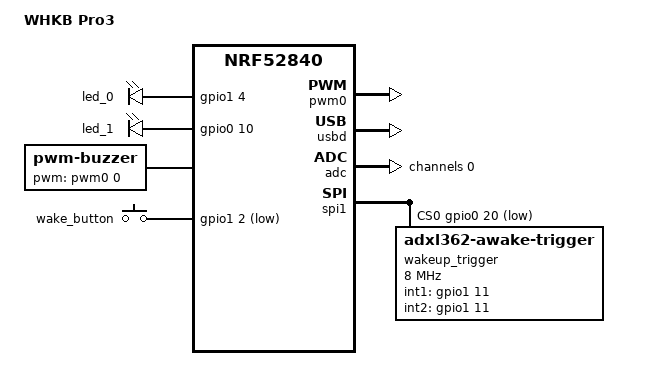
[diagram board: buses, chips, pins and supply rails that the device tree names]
/*
 * Copyright (c) 2025 Stefan Sundin (4pplet)
 * SPDX-License-Identifier: MIT
 *
 * WHKB Pro3 - nRF52840 controller for HHKB Professional Classic
 * Uses ADC-based capacitive sensing instead of comparator
 *
 * Pin mapping (adjust to match actual PCB):
 * - ROW0-3: Row drive outputs
 * - COL_A/B/C: 3-bit column select for HC4051 muxes
 * - U1_EN/U2_EN: Mux enable (active low)
 * - OPAMP_EN: OpAmp enable
 * - DISCHARGE: Capacitor discharge
 * - SENSE: ADC input from OpAmp (P0.02 = AIN0)
 * - LDO_EN: Switch board power
 */

/dts-v1/;

#include <nordic/nrf52840_qiaa.dtsi>
#include <common/nordic/nrf52840_uf2_boot_mode.dtsi>
#include "whkb_pro3-pinctrl.dtsi"

/ {
    model = "WHKB Pro3";
    compatible = "applet,whkb-pro3";

    chosen {
        zephyr,code-partition = &code_partition;
        zephyr,sram = &sram0;
        zephyr,flash = &flash0;
        zephyr,console = &cdc_acm_uart;
    };

    leds {
        compatible = "gpio-leds";
        led_0: led_1 {
            gpios = <&gpio1 4 GPIO_ACTIVE_HIGH>;
            status = "okay";
        };
        led_1: led_2 {
            gpios = <&gpio0 10 GPIO_ACTIVE_HIGH>;
            status = "okay";
        };
    };

    buzzer: buzzer {
        compatible = "pwm-buzzer";
        pwms = <&pwm0 0 PWM_HZ(440) PWM_POLARITY_NORMAL>;
    };

    /*
     * Wake button - dedicated button for waking from deep sleep
     * Similar to HHKB Hybrid's power button functionality
     * TODO: Update pin assignment when PCB design is finalized
     */
    gpio_keys {
        compatible = "gpio-keys";
        wake_button: wake_button {
            gpios = <&gpio1 2 (GPIO_ACTIVE_LOW | GPIO_PULL_UP)>;  /* Placeholder pin */
        };
    };

    /*
     * Wake trigger - enables the wake button to wake from soft-off/deep sleep
     * This is separate from the accelerometer wake functionality
     */
    wakeup_button_trigger: wakeup_button_trigger {
        compatible = "zmk,gpio-key-wakeup-trigger";
        trigger = <&wake_button>;
        wakeup-source;
    };

    aliases {
        led1 = &led_0;
        led2 = &led_1;
        buzzer = &buzzer;
        wake-button = &wake_button;
    };
};

&pwm0 {
    status = "okay";
    pinctrl-0 = <&pwm0_default>;
    pinctrl-1 = <&pwm0_sleep>;
    pinctrl-names = "default", "sleep";
};

&reg1 {
    regulator-initial-mode = <NRF5X_REG_MODE_DCDC>;
};

&gpiote {
    status = "okay";
};

&gpio0 {
    status = "okay";
};

&gpio1 {
    status = "okay";
};

zephyr_udc0: &usbd {
    status = "okay";
    cdc_acm_uart: cdc_acm_uart {
        compatible = "zephyr,cdc-acm-uart";
    };
};

/* ADC for capacitive sensing */
&adc {
    #address-cells = <1>;
    #size-cells = <0>;
    status = "okay";

    channel@0 {
        reg = <0>;
        zephyr,gain = "ADC_GAIN_1_6";
        zephyr,reference = "ADC_REF_INTERNAL";
        zephyr,acquisition-time = <ADC_ACQ_TIME_DEFAULT>;
        zephyr,input-positive = <NRF_SAADC_AIN0>;  /* P0.02 */
        zephyr,resolution = <12>;
    };
};

/*
 * ADXL362 accelerometer for wakeup from sleep
 * Uses ec-support-zmk-module from petejohanson
 * Provides alternative wake method alongside dedicated wake button
 * TODO: Update CS and INT pin assignments when PCB design is finalized
 */
&spi1 {
    status = "okay";
    compatible = "nordic,nrf-spim";
    pinctrl-0 = <&spi1_default>;
    pinctrl-1 = <&spi1_sleep>;
    pinctrl-names = "default", "sleep";
    cs-gpios = <&gpio0 20 GPIO_ACTIVE_LOW>;  /* Placeholder CS pin */

    wakeup_trigger: wakeup_trigger@0 {
        compatible = "zmk,adxl362-awake-trigger";
        status = "okay";
        reg = <0>;
        spi-max-frequency = <8000000>;
        int1-gpios = <&gpio1 11 GPIO_ACTIVE_HIGH>;  /* Placeholder INT1 pin */
        int2-gpios = <&gpio1 11 GPIO_ACTIVE_HIGH>;  /* Same pin - workaround for module macro */
        wakeup-source;

        /*
         * Accelerometer sensitivity settings - adjust these to tune wake behavior.
         * Threshold values are in milli-g (1000 = 1g). Higher = less sensitive.
         * Time values are in sample periods at 12.5Hz (1 = 80ms).
         */
        normal {
            activity-threshold = <18>;    /* Detect light movement */
            activity-time = <0>;
            inactivity-threshold = <60>;
            inactivity-time = <100>;
        };
        sleep {
            activity-threshold = <47>;    /* Wake threshold: 50=sensitive, 75=default, 150=tap, 250=firm shake */
            activity-time = <1>;          /* Require 80ms sustained movement */
            inactivity-threshold = <500>;
            inactivity-time = <0>;
        };
    };
};

&flash0 {
    partitions {
        compatible = "fixed-partitions";
        #address-cells = <1>;
        #size-cells = <1>;

        sd_partition: partition@0 {
            reg = <0x00000000 0x00026000>;
        };
        code_partition: partition@26000 {
            reg = <0x00026000 0x000c6000>;
        };

        storage_partition: partition@ec000 {
            reg = <0x000ec000 0x00008000>;
        };

        boot_partition: partition@f4000 {
            reg = <0x000f4000 0x0000c000>;
        };
    };
};
